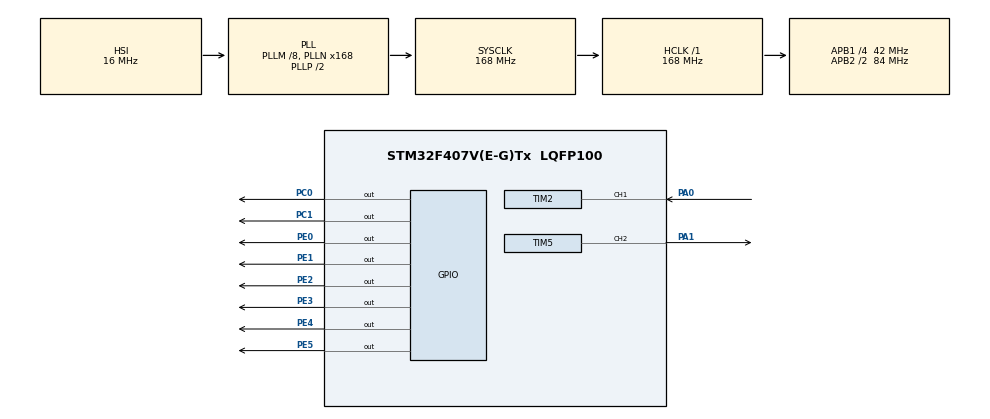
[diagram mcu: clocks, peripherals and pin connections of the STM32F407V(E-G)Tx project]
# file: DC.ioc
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Mcu.Family=STM32F4
Mcu.Name=STM32F407V(E-G)Tx
Mcu.Package=LQFP100
NVIC.PriorityGroup=NVIC_PRIORITYGROUP_4
NVIC.TIM2_IRQn=true\:0\:0\:false\:false\:true\:true\:true\:true
PA0-WKUP.Signal=S_TIM2_CH1_ETR
PA1.Signal=S_TIM5_CH2
PC0.Signal=GPIO_Output
PC1.Signal=GPIO_Output
PE0.Signal=GPIO_Output
PE1.Signal=GPIO_Output
PE2.Signal=GPIO_Output
PE3.Signal=GPIO_Output
PE4.Signal=GPIO_Output
PE5.Signal=GPIO_Output
PH0-OSC_IN.Mode=HSE-External-Oscillator
PH0-OSC_IN.Signal=RCC_OSC_IN
PH1-OSC_OUT.Mode=HSE-External-Oscillator
PH1-OSC_OUT.Signal=RCC_OSC_OUT
ProjectManager.HeapSize=0x200
ProjectManager.StackSize=0x400
ProjectManager.TargetToolchain=MDK-ARM V5.32
RCC.48MHZClocksFreq_Value=84000000
RCC.AHBFreq_Value=168000000
RCC.APB1CLKDivider=RCC_HCLK_DIV4
RCC.APB1Freq_Value=42000000
RCC.APB1TimFreq_Value=84000000
RCC.APB2CLKDivider=RCC_HCLK_DIV2
RCC.APB2Freq_Value=84000000
RCC.APB2TimFreq_Value=168000000
RCC.CortexFreq_Value=168000000
RCC.HCLKFreq_Value=168000000
RCC.HSE_VALUE=8000000
RCC.HSI_VALUE=16000000
RCC.LSE_VALUE=32768
RCC.PLLM=8
RCC.PLLN=168
RCC.SYSCLKFreq_VALUE=168000000
RCC.SYSCLKSource=RCC_SYSCLKSOURCE_PLLCLK
RCC.VCOOutputFreq_Value=336000000
SH.S_TIM2_CH1_ETR.0=TIM2_CH1,Input_Capture1_from_TI1
SH.S_TIM5_CH2.0=TIM5_CH2,PWM Generation2 CH2
TIM2.Channel-Input_Capture1_from_TI1=TIM_CHANNEL_1
TIM2.Period=0xFFFFFFFF
TIM2.Prescaler=10
TIM5.Channel-PWM\ Generation2\ CH2=TIM_CHANNEL_2
TIM5.Period=60000
TIM5.Prescaler=10
TIM5.Pulse-PWM\ Generation2\ CH2=20000
VP_TIM2_VS_ClockSourceINT.Mode=Internal
VP_TIM5_VS_ClockSourceINT.Mode=Internal
board=custom

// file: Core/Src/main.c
/* USER CODE BEGIN Header */
/**
 ******************************************************************************
 * @file           : main.c
 * @brief          : Main program body
 ******************************************************************************
 * @attention
 *
 * Copyright (c) 2025 STMicroelectronics.
 * All rights reserved.
 *
 * This software is licensed under terms that can be found in the LICENSE file
 * in the root directory of this software component.
 * If no LICENSE file comes with this software, it is provided AS-IS.
 *
 ******************************************************************************
 */
/* USER CODE END Header */
#include "main.h"

/* USER CODE BEGIN Includes */
#include "STM_MY_LCD16X2.h"
#include "stdio.h"
#include "stdlib.h"
#include <stm32f407xx.h>
/* USER CODE END Includes */

TIM_HandleTypeDef htim2;
TIM_HandleTypeDef htim5;

/* USER CODE BEGIN PV */
uint32_t capture_value = 0;
uint32_t pulse_captur[20];
char pulse_cap_index = 0;
uint32_t incap_old = 0, incap_new = 0, n_cap;
uint32_t pulse_capture_old = 0, pulse_error = 0;
uint32_t new_average = 0, old_average = 0;
char str[16];
char overflow = 0, disp = 0, average_func = 0;
float RPM_new, RPM_old;
/* USER CODE END PV */

void SystemClock_Config(void);
static void MX_GPIO_Init(void);
static void MX_TIM2_Init(void);
static void MX_TIM5_Init(void);
/* USER CODE BEGIN PFP */
void HAL_TIM_PeriodElapsedCallback(TIM_HandleTypeDef* htim);
void HAL_TIM_IC_CaptureCallback(TIM_HandleTypeDef* htim);
/* USER CODE END PFP */

/* USER CODE BEGIN 0 */
void HAL_TIM_PeriodElapsedCallback(TIM_HandleTypeDef* htim)
{
	if (htim->Instance == TIM2)
	{
		overflow = 1;
	}
}

void HAL_TIM_IC_CaptureCallback(TIM_HandleTypeDef* htim)
{
	if (htim->Instance == TIM2)
	{
		capture_value = HAL_TIM_ReadCapturedValue(htim, TIM_CHANNEL_1);
		HAL_GPIO_TogglePin(GPIOC, GPIO_PIN_1);
		incap_old = incap_new;
		incap_new = capture_value;
		if (overflow == 0)
		{
			n_cap++;
		}
		if (n_cap > 3)
		{
			pulse_cap_index++;
			pulse_captur[pulse_cap_index] = incap_new - incap_old;
			if (pulse_cap_index == 19)
			{
				pulse_cap_index = 0;
				average_func = 1;
			}
		}
		if (overflow == 1)
		{
			overflow = 0;
			n_cap = 1;
		}
	}
}
/* USER CODE END 0 */

int main(void)
{

	/* MCU Configuration--------------------------------------------------------*/

	/* Reset of all peripherals, Initializes the Flash interface and the Systick. */
	HAL_Init();

	/* Configure the system clock */
	SystemClock_Config();

	/* Initialize all configured peripherals */
	MX_GPIO_Init();
	MX_TIM2_Init();
	MX_TIM5_Init();
	/* USER CODE BEGIN 2 */
	HAL_GPIO_WritePin(GPIOC, GPIO_PIN_0, 1);
	HAL_TIM_Base_Start_IT(&htim2);
	HAL_TIM_Base_Start(&htim5);
	HAL_TIM_PWM_Start(&htim5, TIM_CHANNEL_2);
	HAL_TIM_IC_Start_IT(&htim2, TIM_CHANNEL_1);
	LCD1602_Begin4BIT(GPIOE, GPIO_PIN_0, GPIO_PIN_1, GPIOE, GPIO_PIN_2, GPIO_PIN_3, GPIO_PIN_4, GPIO_PIN_5);
	LCD1602_print("RPM Calculator");
	/* USER CODE END 2 */

	/* Infinite loop */
	/* USER CODE BEGIN WHILE */
	while (1)
	{
		if (average_func == 1)
		{
			uint32_t sum = 0;
			average_func = 0;
			old_average = new_average;
			for (int i = 0; i < 20; i++)
			{
				sum = sum + pulse_captur[i];
			}
			new_average = sum / 20;
			RPM_old = RPM_new;
			int PSC = TIM2->PSC;
			RPM_new = (float)(60 * 10000000) / (40 * (PSC + 1) * new_average);
			pulse_error = abs(RPM_new - RPM_old) * 100 / RPM_new;
		}
		if (pulse_error > (int)(2 * RPM_new / 100))
			disp = 1;
		else
			disp = 0;
		if (disp == 1)
		{
			sprintf(str, "RPM=%d", (int)incap_new - incap_old);
			LCD1602_clear();
			LCD1602_print(str);
			disp = 0;
		}
		/* USER CODE END WHILE */

	}
}

void SystemClock_Config(void)
{
	RCC_OscInitTypeDef RCC_OscInitStruct = { 0 };
	RCC_ClkInitTypeDef RCC_ClkInitStruct = { 0 };

	/** Configure the main internal regulator output voltage
	 */
	__HAL_RCC_PWR_CLK_ENABLE();
	__HAL_PWR_VOLTAGESCALING_CONFIG(PWR_REGULATOR_VOLTAGE_SCALE1);

	/** Initializes the RCC Oscillators according to the specified parameters
	 * in the RCC_OscInitTypeDef structure.
	 */
	RCC_OscInitStruct.OscillatorType = RCC_OSCILLATORTYPE_HSI;
	RCC_OscInitStruct.HSIState = RCC_HSI_ON;
	RCC_OscInitStruct.HSICalibrationValue = RCC_HSICALIBRATION_DEFAULT;
	RCC_OscInitStruct.PLL.PLLState = RCC_PLL_ON;
	RCC_OscInitStruct.PLL.PLLSource = RCC_PLLSOURCE_HSI;
	RCC_OscInitStruct.PLL.PLLM = 8;
	RCC_OscInitStruct.PLL.PLLN = 168;
	RCC_OscInitStruct.PLL.PLLP = RCC_PLLP_DIV2;
	RCC_OscInitStruct.PLL.PLLQ = 4;
	if (HAL_RCC_OscConfig(&RCC_OscInitStruct) != HAL_OK)
	{
		Error_Handler();
	}

	/** Initializes the CPU, AHB and APB buses clocks
	 */
	RCC_ClkInitStruct.ClockType = RCC_CLOCKTYPE_HCLK | RCC_CLOCKTYPE_SYSCLK
		| RCC_CLOCKTYPE_PCLK1 | RCC_CLOCKTYPE_PCLK2;
	RCC_ClkInitStruct.SYSCLKSource = RCC_SYSCLKSOURCE_PLLCLK;
	RCC_ClkInitStruct.AHBCLKDivider = RCC_SYSCLK_DIV1;
	RCC_ClkInitStruct.APB1CLKDivider = RCC_HCLK_DIV4;
	RCC_ClkInitStruct.APB2CLKDivider = RCC_HCLK_DIV2;

	if (HAL_RCC_ClockConfig(&RCC_ClkInitStruct, FLASH_LATENCY_5) != HAL_OK)
	{
		Error_Handler();
	}
}

static void MX_TIM2_Init(void)
{

	TIM_ClockConfigTypeDef sClockSourceConfig = { 0 };
	TIM_MasterConfigTypeDef sMasterConfig = { 0 };
	TIM_IC_InitTypeDef sConfigIC = { 0 };

	htim2.Instance = TIM2;
	htim2.Init.Prescaler = 10;
	htim2.Init.CounterMode = TIM_COUNTERMODE_UP;
	htim2.Init.Period = 0xFFFFFFFF;
	htim2.Init.ClockDivision = TIM_CLOCKDIVISION_DIV1;
	htim2.Init.AutoReloadPreload = TIM_AUTORELOAD_PRELOAD_DISABLE;
	if (HAL_TIM_Base_Init(&htim2) != HAL_OK)
	{
		Error_Handler();
	}
	sClockSourceConfig.ClockSource = TIM_CLOCKSOURCE_INTERNAL;
	if (HAL_TIM_ConfigClockSource(&htim2, &sClockSourceConfig) != HAL_OK)
	{
		Error_Handler();
	}
	if (HAL_TIM_IC_Init(&htim2) != HAL_OK)
	{
		Error_Handler();
	}
	sMasterConfig.MasterOutputTrigger = TIM_TRGO_RESET;
	sMasterConfig.MasterSlaveMode = TIM_MASTERSLAVEMODE_DISABLE;
	if (HAL_TIMEx_MasterConfigSynchronization(&htim2, &sMasterConfig) != HAL_OK)
	{
		Error_Handler();
	}
	sConfigIC.ICPolarity = TIM_INPUTCHANNELPOLARITY_RISING;
	sConfigIC.ICSelection = TIM_ICSELECTION_DIRECTTI;
	sConfigIC.ICPrescaler = TIM_ICPSC_DIV1;
	sConfigIC.ICFilter = 0;
	if (HAL_TIM_IC_ConfigChannel(&htim2, &sConfigIC, TIM_CHANNEL_1) != HAL_OK)
	{
		Error_Handler();
	}
}

static void MX_TIM5_Init(void)
{

	TIM_ClockConfigTypeDef sClockSourceConfig = { 0 };
	TIM_MasterConfigTypeDef sMasterConfig = { 0 };
	TIM_OC_InitTypeDef sConfigOC = { 0 };

	htim5.Instance = TIM5;
	htim5.Init.Prescaler = 10;
	htim5.Init.CounterMode = TIM_COUNTERMODE_UP;
	htim5.Init.Period = 60000;
	htim5.Init.ClockDivision = TIM_CLOCKDIVISION_DIV1;
	htim5.Init.AutoReloadPreload = TIM_AUTORELOAD_PRELOAD_DISABLE;
	if (HAL_TIM_Base_Init(&htim5) != HAL_OK)
	{
		Error_Handler();
	}
	sClockSourceConfig.ClockSource = TIM_CLOCKSOURCE_INTERNAL;
	if (HAL_TIM_ConfigClockSource(&htim5, &sClockSourceConfig) != HAL_OK)
	{
		Error_Handler();
	}
	if (HAL_TIM_PWM_Init(&htim5) != HAL_OK)
	{
		Error_Handler();
	}
	sMasterConfig.MasterOutputTrigger = TIM_TRGO_RESET;
	sMasterConfig.MasterSlaveMode = TIM_MASTERSLAVEMODE_DISABLE;
	if (HAL_TIMEx_MasterConfigSynchronization(&htim5, &sMasterConfig) != HAL_OK)
	{
		Error_Handler();
	}
	sConfigOC.OCMode = TIM_OCMODE_PWM1;
	sConfigOC.Pulse = 20000;
	sConfigOC.OCPolarity = TIM_OCPOLARITY_HIGH;
	sConfigOC.OCFastMode = TIM_OCFAST_DISABLE;
	if (HAL_TIM_PWM_ConfigChannel(&htim5, &sConfigOC, TIM_CHANNEL_2) != HAL_OK)
	{
		Error_Handler();
	}
	HAL_TIM_MspPostInit(&htim5);
}

static void MX_GPIO_Init(void)
{
	GPIO_InitTypeDef GPIO_InitStruct = { 0 };

	/* GPIO Ports Clock Enable */
	__HAL_RCC_GPIOE_CLK_ENABLE();
	__HAL_RCC_GPIOH_CLK_ENABLE();
	__HAL_RCC_GPIOC_CLK_ENABLE();
	__HAL_RCC_GPIOA_CLK_ENABLE();

	/*Configure GPIO pin Output Level */
	HAL_GPIO_WritePin(GPIOE, GPIO_PIN_2 | GPIO_PIN_3 | GPIO_PIN_4 | GPIO_PIN_5 | GPIO_PIN_0 | GPIO_PIN_1, GPIO_PIN_RESET);

	/*Configure GPIO pin Output Level */
	HAL_GPIO_WritePin(GPIOC, GPIO_PIN_0 | GPIO_PIN_1, GPIO_PIN_RESET);

	/*Configure GPIO pins : PE2 PE3 PE4 PE5
							 PE0 PE1 */
	GPIO_InitStruct.Pin = GPIO_PIN_2 | GPIO_PIN_3 | GPIO_PIN_4 | GPIO_PIN_5
		| GPIO_PIN_0 | GPIO_PIN_1;
	GPIO_InitStruct.Mode = GPIO_MODE_OUTPUT_PP;
	GPIO_InitStruct.Pull = GPIO_NOPULL;
	GPIO_InitStruct.Speed = GPIO_SPEED_FREQ_LOW;
	HAL_GPIO_Init(GPIOE, &GPIO_InitStruct);

	/*Configure GPIO pins : PC0 PC1 */
	GPIO_InitStruct.Pin = GPIO_PIN_0 | GPIO_PIN_1;
	GPIO_InitStruct.Mode = GPIO_MODE_OUTPUT_PP;
	GPIO_InitStruct.Pull = GPIO_NOPULL;
	GPIO_InitStruct.Speed = GPIO_SPEED_FREQ_LOW;
	HAL_GPIO_Init(GPIOC, &GPIO_InitStruct);
}

void Error_Handler(void)
{
	__disable_irq();
	while (1)
	{
	}
}
